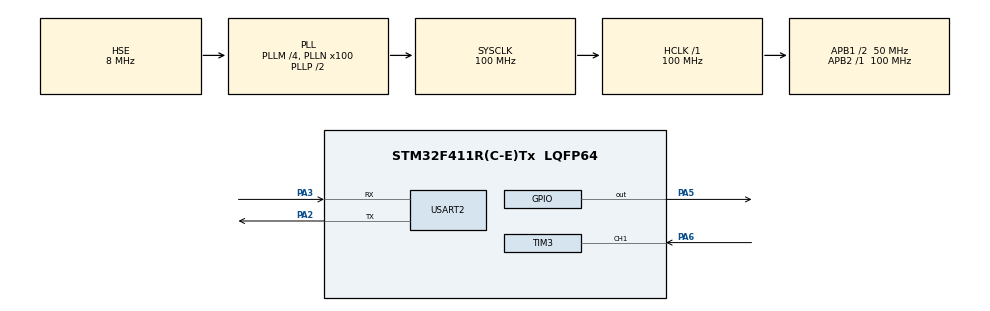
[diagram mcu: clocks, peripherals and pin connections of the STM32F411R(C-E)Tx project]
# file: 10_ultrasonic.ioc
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Mcu.Family=STM32F4
Mcu.Name=STM32F411R(C-E)Tx
Mcu.Package=LQFP64
NVIC.PriorityGroup=NVIC_PRIORITYGROUP_4
NVIC.TIM3_IRQn=true\:0\:0\:false\:false\:true\:true\:true\:true
NVIC.USART2_IRQn=true\:0\:0\:false\:false\:true\:true\:true\:true
PA13.Mode=Serial_Wire
PA13.Signal=SYS_JTMS-SWDIO
PA14.Mode=Serial_Wire
PA14.Signal=SYS_JTCK-SWCLK
PA2.Mode=Asynchronous
PA2.Signal=USART2_TX
PA3.Mode=Asynchronous
PA3.Signal=USART2_RX
PA5.GPIO_Speed=GPIO_SPEED_FREQ_HIGH
PA5.Signal=GPIO_Output
PA6.Signal=S_TIM3_CH1
PH0\ -\ OSC_IN.Mode=HSE-External-Oscillator
PH0\ -\ OSC_IN.Signal=RCC_OSC_IN
PH1\ -\ OSC_OUT.Mode=HSE-External-Oscillator
PH1\ -\ OSC_OUT.Signal=RCC_OSC_OUT
ProjectManager.HeapSize=0x200
ProjectManager.StackSize=0x400
ProjectManager.TargetToolchain=STM32CubeIDE
RCC.48MHZClocksFreq_Value=50000000
RCC.AHBFreq_Value=100000000
RCC.APB1CLKDivider=RCC_HCLK_DIV2
RCC.APB1Freq_Value=50000000
RCC.APB1TimFreq_Value=100000000
RCC.APB2Freq_Value=100000000
RCC.APB2TimFreq_Value=100000000
RCC.CortexFreq_Value=100000000
RCC.HCLKFreq_Value=100000000
RCC.HSE_VALUE=8000000
RCC.HSI_VALUE=16000000
RCC.LSE_VALUE=32768
RCC.PLLM=4
RCC.PLLN=100
RCC.PLLSourceVirtual=RCC_PLLSOURCE_HSE
RCC.SYSCLKFreq_VALUE=100000000
RCC.SYSCLKSource=RCC_SYSCLKSOURCE_PLLCLK
RCC.VCOOutputFreq_Value=200000000
SH.S_TIM3_CH1.0=TIM3_CH1,Input_Capture1_from_TI1
TIM11.Prescaler=100-1
TIM3.Channel-Input_Capture1_from_TI1=TIM_CHANNEL_1
TIM3.ICPolarity_CH1=TIM_INPUTCHANNELPOLARITY_RISING
TIM3.Prescaler=100-1
USART2.VirtualMode=VM_ASYNC
VP_TIM11_VS_ClockSourceINT.Mode=Enable_Timer
VP_TIM3_VS_ClockSourceINT.Mode=Internal
board=custom

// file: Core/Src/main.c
/* USER CODE BEGIN Header */
/**
  ******************************************************************************
  * @file           : main.c
  * @brief          : Main program body
  ******************************************************************************
  * @attention
  *
  * Copyright (c) 2025 STMicroelectronics.
  * All rights reserved.
  *
  * This software is licensed under terms that can be found in the LICENSE file
  * in the root directory of this software component.
  * If no LICENSE file comes with this software, it is provided AS-IS.
  *
  ******************************************************************************
  */
/* USER CODE END Header */
#include "main.h"
#include "tim.h"
#include "usart.h"
#include "gpio.h"

/* USER CODE BEGIN Includes */

#include "delay_us.h"
#include "stdio.h"

/* USER CODE END Includes */

/* USER CODE BEGIN PD */
#define TRIG_PORT	GPIOA
#define TRIG_PIN	GPIO_PIN_5
/* USER CODE END PD */

/* USER CODE BEGIN PM */
int _write(int file, unsigned char* p, int len)
{
    HAL_StatusTypeDef status = HAL_UART_Transmit(&huart2, p, len, 100);
    return (status == HAL_OK ? len : 0);
}
/* USER CODE END PM */

/* USER CODE BEGIN PV */
uint16_t IC_Value1 = 0;
uint16_t IC_Value2 = 0;
uint16_t echoTime = 0;
uint8_t captureFlag = 0;
uint8_t distance = 0;

/* USER CODE END PV */

void SystemClock_Config(void);
/* USER CODE BEGIN PFP */

void HCSR04_TRIGGER()
{
	HAL_GPIO_WritePin(GPIOA, GPIO_PIN_5, 0);   //로우로 한번 두고
	delay_us(1);
	HAL_GPIO_WritePin(GPIOA, GPIO_PIN_5, 1);
	delay_us(10);                              //10us로 유지
	HAL_GPIO_WritePin(GPIOA, GPIO_PIN_5, 0);

	__HAL_TIM_ENABLE_IT(&htim3, TIM_IT_CC1);
}

void HAL_TIM_IC_CaptureCallback(TIM_HandleTypeDef *htim)
{
	if(htim->Channel ==HAL_TIM_ACTIVE_CHANNEL_1)
	{
		if(captureFlag == 0)  //캡쳐를 한번도 안했다면
		{
			IC_Value1 = HAL_TIM_ReadCapturedValue(&htim3, TIM_CHANNEL_1);
			captureFlag =1; // 캡쳐플레그 세움( 캡쳐했음)
			__HAL_TIM_SET_CAPTUREPOLARITY(&htim3,TIM_CHANNEL_1,TIM_INPUTCHANNELPOLARITY_FALLING);
		}
		else if(captureFlag == 1)
		{
			IC_Value2 = HAL_TIM_ReadCapturedValue(&htim3, TIM_CHANNEL_1);
			__HAL_TIM_SET_CAPTUREPOLARITY(&htim3,TIM_CHANNEL_1,TIM_INPUTCHANNELPOLARITY_RISING);
			if(IC_Value2 >IC_Value1)
			{
				echoTime = IC_Value2 - IC_Value1;
			}
			else if(IC_Value2 <IC_Value1)
			{
				echoTime = (0xffff -IC_Value1 + IC_Value2 ); // f하나에 4비트 ffff는 16비트다
			}
			distance = echoTime / 58;
			captureFlag = 0;
			__HAL_TIM_DISABLE_IT(&htim3,TIM_IT_CC1);  //인터럽트를 죽인다.
		}
	}
}

/* USER CODE END PFP */

int main(void)
{

  /* MCU Configuration--------------------------------------------------------*/

  /* Reset of all peripherals, Initializes the Flash interface and the Systick. */
  HAL_Init();

  /* Configure the system clock */
  SystemClock_Config();

  /* Initialize all configured peripherals */
  MX_GPIO_Init();
  MX_TIM3_Init();
  MX_TIM11_Init();
  MX_USART2_UART_Init();
  /* USER CODE BEGIN 2 */

  HAL_TIM_Base_Start(&htim11);  //for delay_us() Function

  HAL_TIM_IC_Start_IT(&htim3, TIM_CHANNEL_1);  //인터럽트면 콜백 이름 모르니까

  /* USER CODE END 2 */

  /* Infinite loop */
  /* USER CODE BEGIN WHILE */
  while (1)
  {
	  HCSR04_TRIGGER();

	  printf("Distance : %d cm\n",distance);
	  HAL_Delay(500);
    /* USER CODE END WHILE */

  }
}

void SystemClock_Config(void)
{
  RCC_OscInitTypeDef RCC_OscInitStruct = {0};
  RCC_ClkInitTypeDef RCC_ClkInitStruct = {0};

  /** Configure the main internal regulator output voltage
  */
  __HAL_RCC_PWR_CLK_ENABLE();
  __HAL_PWR_VOLTAGESCALING_CONFIG(PWR_REGULATOR_VOLTAGE_SCALE1);

  /** Initializes the RCC Oscillators according to the specified parameters
  * in the RCC_OscInitTypeDef structure.
  */
  RCC_OscInitStruct.OscillatorType = RCC_OSCILLATORTYPE_HSE;
  RCC_OscInitStruct.HSEState = RCC_HSE_ON;
  RCC_OscInitStruct.PLL.PLLState = RCC_PLL_ON;
  RCC_OscInitStruct.PLL.PLLSource = RCC_PLLSOURCE_HSE;
  RCC_OscInitStruct.PLL.PLLM = 4;
  RCC_OscInitStruct.PLL.PLLN = 100;
  RCC_OscInitStruct.PLL.PLLP = RCC_PLLP_DIV2;
  RCC_OscInitStruct.PLL.PLLQ = 4;
  if (HAL_RCC_OscConfig(&RCC_OscInitStruct) != HAL_OK)
  {
    Error_Handler();
  }

  /** Initializes the CPU, AHB and APB buses clocks
  */
  RCC_ClkInitStruct.ClockType = RCC_CLOCKTYPE_HCLK|RCC_CLOCKTYPE_SYSCLK
                              |RCC_CLOCKTYPE_PCLK1|RCC_CLOCKTYPE_PCLK2;
  RCC_ClkInitStruct.SYSCLKSource = RCC_SYSCLKSOURCE_PLLCLK;
  RCC_ClkInitStruct.AHBCLKDivider = RCC_SYSCLK_DIV1;
  RCC_ClkInitStruct.APB1CLKDivider = RCC_HCLK_DIV2;
  RCC_ClkInitStruct.APB2CLKDivider = RCC_HCLK_DIV1;

  if (HAL_RCC_ClockConfig(&RCC_ClkInitStruct, FLASH_LATENCY_3) != HAL_OK)
  {
    Error_Handler();
  }
}

void Error_Handler(void)
{
  __disable_irq();
  while (1)
  {
  }
}
